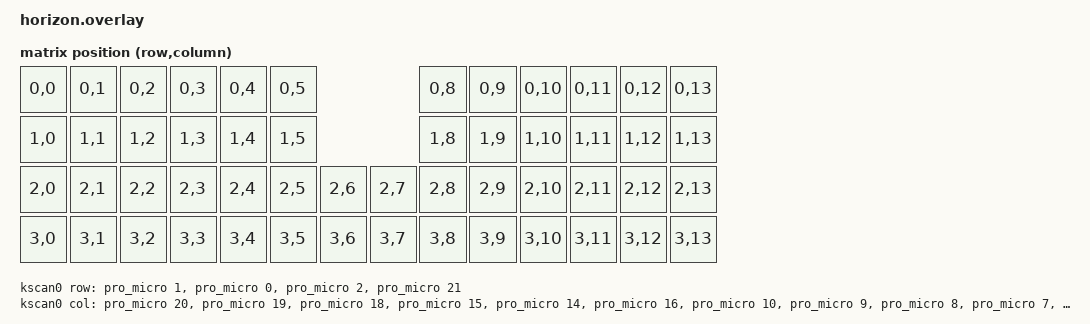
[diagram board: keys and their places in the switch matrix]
/*
 * Copyright (c) 2021 The ZMK Contributors
 *
 * SPDX-License-Identifier: MIT
 */

 #include <dt-bindings/zmk/matrix_transform.h>

/ {
    chosen {
        zmk,kscan = &kscan0;
        zmk,matrix_transform = &default_transform;
    };

    kscan0: kscan_0 {
        compatible = "zmk,kscan-gpio-matrix";
        label = "KSCAN";
        diode-direction = "col2row";

        col-gpios
            = <&pro_micro 20 GPIO_ACTIVE_HIGH>
            , <&pro_micro 19 GPIO_ACTIVE_HIGH>
            , <&pro_micro 18 GPIO_ACTIVE_HIGH>
            , <&pro_micro 15 GPIO_ACTIVE_HIGH>
            , <&pro_micro 14 GPIO_ACTIVE_HIGH>
            , <&pro_micro 16 GPIO_ACTIVE_HIGH>
            , <&pro_micro 10 GPIO_ACTIVE_HIGH>
            , <&pro_micro 9 GPIO_ACTIVE_HIGH>
            , <&pro_micro 8 GPIO_ACTIVE_HIGH>
            , <&pro_micro 7 GPIO_ACTIVE_HIGH>
            , <&pro_micro 6 GPIO_ACTIVE_HIGH>
            , <&pro_micro 5 GPIO_ACTIVE_HIGH>
            , <&pro_micro 4 GPIO_ACTIVE_HIGH>
            , <&pro_micro 3 GPIO_ACTIVE_HIGH>
            ;

        row-gpios
            = <&pro_micro 1 (GPIO_ACTIVE_HIGH | GPIO_PULL_DOWN)>
            , <&pro_micro 0 (GPIO_ACTIVE_HIGH | GPIO_PULL_DOWN)>
            , <&pro_micro 2 (GPIO_ACTIVE_HIGH | GPIO_PULL_DOWN)>
            , <&pro_micro 21 (GPIO_ACTIVE_HIGH | GPIO_PULL_DOWN)>
            ;
    };

    default_transform: keymap_transform_0 {
        compatible = "zmk,matrix-transform";
        columns = <14>;
        rows = <4>;
        map = <
          RC(0,0)  RC(0,1)  RC(0,2)  RC(0,3)  RC(0,4)  RC(0,5)                    RC(0,8)  RC(0,9)  RC(0,10) RC(0,11) RC(0,12) RC(0,13)
          RC(1,0)  RC(1,1)  RC(1,2)  RC(1,3)  RC(1,4)  RC(1,5)                    RC(1,8)  RC(1,9)  RC(1,10) RC(1,11) RC(1,12) RC(1,13)
          RC(2,0)  RC(2,1)  RC(2,2)  RC(2,3)  RC(2,4)  RC(2,5)  RC(2,6)  RC(2,7)  RC(2,8)  RC(2,9)  RC(2,10) RC(2,11) RC(2,12) RC(2,13)
          RC(3,0)  RC(3,1)  RC(3,2)  RC(3,3)  RC(3,4)  RC(3,5)  RC(3,6)  RC(3,7)  RC(3,8)  RC(3,9)  RC(3,10) RC(3,11) RC(3,12) RC(3,13)
        >;
    };
};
